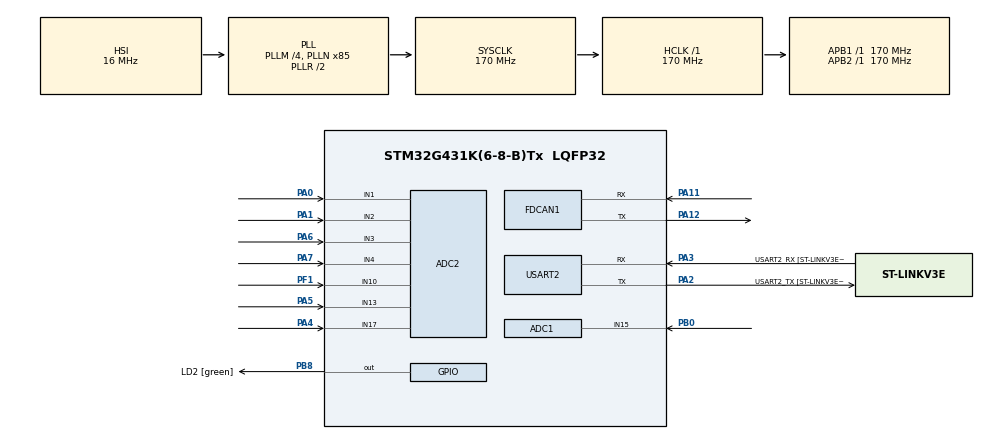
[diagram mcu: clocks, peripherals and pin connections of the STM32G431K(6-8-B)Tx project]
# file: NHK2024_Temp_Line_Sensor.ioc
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ADC1.Channel-3\#ChannelRegularConversion=ADC_CHANNEL_15
ADC1.ContinuousConvMode=ENABLE
ADC1.DMAContinuousRequests=ENABLE
ADC1.NbrOfConversionFlag=1
ADC1.OffsetNumber-3\#ChannelRegularConversion=ADC_OFFSET_NONE
ADC1.Rank-3\#ChannelRegularConversion=1
ADC1.SamplingTime-3\#ChannelRegularConversion=ADC_SAMPLETIME_640CYCLES_5
ADC1.master=1
ADC2.Channel-0\#ChannelRegularConversion=ADC_CHANNEL_1
ADC2.Channel-1\#ChannelRegularConversion=ADC_CHANNEL_2
ADC2.Channel-2\#ChannelRegularConversion=ADC_CHANNEL_4
ADC2.Channel-3\#ChannelRegularConversion=ADC_CHANNEL_3
ADC2.Channel-4\#ChannelRegularConversion=ADC_CHANNEL_10
ADC2.Channel-5\#ChannelRegularConversion=ADC_CHANNEL_13
ADC2.Channel-6\#ChannelRegularConversion=ADC_CHANNEL_17
ADC2.ContinuousConvMode=ENABLE
ADC2.DMAContinuousRequests=ENABLE
ADC2.EOCSelection=ADC_EOC_SINGLE_CONV
ADC2.NbrOfConversion=7
ADC2.NbrOfConversionFlag=1
ADC2.OffsetNumber-0\#ChannelRegularConversion=ADC_OFFSET_NONE
ADC2.OffsetNumber-1\#ChannelRegularConversion=ADC_OFFSET_NONE
ADC2.OffsetNumber-2\#ChannelRegularConversion=ADC_OFFSET_NONE
ADC2.OffsetNumber-3\#ChannelRegularConversion=ADC_OFFSET_NONE
ADC2.OffsetNumber-4\#ChannelRegularConversion=ADC_OFFSET_NONE
ADC2.OffsetNumber-5\#ChannelRegularConversion=ADC_OFFSET_NONE
ADC2.OffsetNumber-6\#ChannelRegularConversion=ADC_OFFSET_NONE
ADC2.Rank-0\#ChannelRegularConversion=1
ADC2.Rank-1\#ChannelRegularConversion=2
ADC2.Rank-2\#ChannelRegularConversion=3
ADC2.Rank-3\#ChannelRegularConversion=4
ADC2.Rank-4\#ChannelRegularConversion=5
ADC2.Rank-5\#ChannelRegularConversion=6
ADC2.Rank-6\#ChannelRegularConversion=7
ADC2.SamplingTime-0\#ChannelRegularConversion=ADC_SAMPLETIME_640CYCLES_5
ADC2.SamplingTime-1\#ChannelRegularConversion=ADC_SAMPLETIME_640CYCLES_5
ADC2.SamplingTime-2\#ChannelRegularConversion=ADC_SAMPLETIME_640CYCLES_5
ADC2.SamplingTime-3\#ChannelRegularConversion=ADC_SAMPLETIME_640CYCLES_5
ADC2.SamplingTime-4\#ChannelRegularConversion=ADC_SAMPLETIME_640CYCLES_5
ADC2.SamplingTime-5\#ChannelRegularConversion=ADC_SAMPLETIME_640CYCLES_5
ADC2.SamplingTime-6\#ChannelRegularConversion=ADC_SAMPLETIME_640CYCLES_5
Dma.ADC1.0.Direction=DMA_PERIPH_TO_MEMORY
Dma.ADC1.0.EventEnable=DISABLE
Dma.ADC1.0.Instance=DMA1_Channel1
Dma.ADC1.0.MemDataAlignment=DMA_MDATAALIGN_HALFWORD
Dma.ADC1.0.MemInc=DMA_MINC_ENABLE
Dma.ADC1.0.Mode=DMA_CIRCULAR
Dma.ADC1.0.PeriphDataAlignment=DMA_PDATAALIGN_HALFWORD
Dma.ADC1.0.PeriphInc=DMA_PINC_DISABLE
Dma.ADC1.0.Polarity=HAL_DMAMUX_REQ_GEN_RISING
Dma.ADC1.0.Priority=DMA_PRIORITY_LOW
Dma.ADC1.0.RequestNumber=1
Dma.ADC1.0.SignalID=NONE
Dma.ADC1.0.SyncEnable=DISABLE
Dma.ADC1.0.SyncPolarity=HAL_DMAMUX_SYNC_NO_EVENT
Dma.ADC1.0.SyncRequestNumber=1
Dma.ADC1.0.SyncSignalID=NONE
Dma.ADC2.1.Direction=DMA_PERIPH_TO_MEMORY
Dma.ADC2.1.EventEnable=DISABLE
Dma.ADC2.1.Instance=DMA1_Channel2
Dma.ADC2.1.MemDataAlignment=DMA_MDATAALIGN_HALFWORD
Dma.ADC2.1.MemInc=DMA_MINC_ENABLE
Dma.ADC2.1.Mode=DMA_CIRCULAR
Dma.ADC2.1.PeriphDataAlignment=DMA_PDATAALIGN_HALFWORD
Dma.ADC2.1.PeriphInc=DMA_PINC_DISABLE
Dma.ADC2.1.Polarity=HAL_DMAMUX_REQ_GEN_RISING
Dma.ADC2.1.Priority=DMA_PRIORITY_LOW
Dma.ADC2.1.RequestNumber=1
Dma.ADC2.1.SignalID=NONE
Dma.ADC2.1.SyncEnable=DISABLE
Dma.ADC2.1.SyncPolarity=HAL_DMAMUX_SYNC_NO_EVENT
Dma.ADC2.1.SyncRequestNumber=1
Dma.ADC2.1.SyncSignalID=NONE
Dma.Request0=ADC1
Dma.Request1=ADC2
FDCAN1.CalculateBaudRateNominal=2125000
FDCAN1.CalculateTimeBitNominal=470
FDCAN1.CalculateTimeQuantumNominal=94.11764705882354
Mcu.Family=STM32G4
Mcu.Name=STM32G431K(6-8-B)Tx
Mcu.Package=LQFP32
NVIC.DMA1_Channel1_IRQn=true\:0\:0\:false\:false\:true\:false\:true\:true
NVIC.DMA1_Channel2_IRQn=true\:0\:0\:false\:false\:true\:false\:true\:true
NVIC.PriorityGroup=NVIC_PRIORITYGROUP_4
NVIC.TIM6_DAC_IRQn=true\:0\:0\:false\:false\:true\:true\:true\:true
PA0.Mode=IN1-Single-Ended
PA0.Signal=ADC2_IN1
PA1.Mode=IN2-Single-Ended
PA1.Signal=ADC2_IN2
PA11.Mode=FDCAN_Activate
PA11.Signal=FDCAN1_RX
PA12.Mode=FDCAN_Activate
PA12.Signal=FDCAN1_TX
PA13.GPIO_Label=T_SWDIO
PA13.Mode=Serial_Wire
PA13.Signal=SYS_JTMS-SWDIO
PA14.GPIO_Label=T_SWCLK
PA14.Mode=Serial_Wire
PA14.Signal=SYS_JTCK-SWCLK
PA2.GPIO_Label=USART2_TX [ST-LINKV3E_VCP_RX]
PA2.Mode=Asynchronous
PA2.Signal=USART2_TX
PA3.GPIO_Label=USART2_RX [ST-LINKV3E_VCP_TX]
PA3.Mode=Asynchronous
PA3.Signal=USART2_RX
PA4.Mode=IN17-Single-Ended
PA4.Signal=ADC2_IN17
PA5.Mode=IN13-Single-Ended
PA5.Signal=ADC2_IN13
PA6.Mode=IN3-Single-Ended
PA6.Signal=ADC2_IN3
PA7.Mode=IN4-Single-Ended
PA7.Signal=ADC2_IN4
PB0.Mode=IN15-Single-Ended
PB0.Signal=ADC1_IN15
PB8-BOOT0.GPIO_Label=LD2 [green]
PB8-BOOT0.Signal=GPIO_Output
PF1-OSC_OUT.Mode=IN10-Single-Ended
PF1-OSC_OUT.Signal=ADC2_IN10
ProjectManager.HeapSize=0x200
ProjectManager.StackSize=0x400
ProjectManager.TargetToolchain=STM32CubeIDE
RCC.ADC12Freq_Value=170000000
RCC.AHBFreq_Value=170000000
RCC.APB1Freq_Value=170000000
RCC.APB1TimFreq_Value=170000000
RCC.APB2Freq_Value=170000000
RCC.APB2TimFreq_Value=170000000
RCC.CortexFreq_Value=170000000
RCC.EXTERNAL_CLOCK_VALUE=12288000
RCC.HCLKFreq_Value=170000000
RCC.HSE_VALUE=8000000
RCC.HSI48_VALUE=48000000
RCC.HSI_VALUE=16000000
RCC.LSE_VALUE=32768
RCC.PLLM=RCC_PLLM_DIV4
RCC.PLLN=85
RCC.SYSCLKFreq_VALUE=170000000
RCC.SYSCLKSource=RCC_SYSCLKSOURCE_PLLCLK
RCC.USBFreq_Value=170000000
RCC.VCOOutputFreq_Value=340000000
TIM6.PeriodNoDither=10
TIM6.Prescaler=17
USART2.VirtualMode-Asynchronous=VM_ASYNC
USART2.WordLength=WORDLENGTH_8B
VP_TIM6_VS_ClockSourceINT.Mode=Enable_Timer
board=NUCLEO-G431KB

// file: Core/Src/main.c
/* USER CODE BEGIN Header */
/**
  ******************************************************************************
  * @file           : main.c
  * @brief          : Main program body
  ******************************************************************************
  * @attention
  *
  * Copyright (c) 2024 STMicroelectronics.
  * All rights reserved.
  *
  * This software is licensed under terms that can be found in the LICENSE file
  * in the root directory of this software component.
  * If no LICENSE file comes with this software, it is provided AS-IS.
  *
  ******************************************************************************
  */
/* USER CODE END Header */
#include "main.h"

/* USER CODE BEGIN Includes */
#include <stdio.h>
#include <string.h>
#include <stdlib.h>
#include "src/clip_number.h"
#include "src/filter.h"
/* USER CODE END Includes */

/* USER CODE BEGIN PTD */
struct LineSensor {
	int max; // set max value of sensor (To do: initialize)
	int min; // set min value of sensor (To do: initialize)
};

// Do not forget initialize !!!
struct LineSensor *line_sensor_settings = NULL;

// low pass filter settings
struct NHK2024_Low_Pass_Filter_Settings *low_pass_filter_settings = NULL;

/*
 * Sensor => ADC buffer, warning not align this value, so you should use line_sensor_value
 */
uint16_t ADC1_buffer[1];
uint16_t ADC2_buffer[7];

/* USER CODE END PTD */

/* USER CODE BEGIN PD */
//#define DEBUG // comment out if you want to hide debug print
/* USER CODE END PD */

ADC_HandleTypeDef hadc1;
ADC_HandleTypeDef hadc2;
DMA_HandleTypeDef hdma_adc1;
DMA_HandleTypeDef hdma_adc2;

FDCAN_HandleTypeDef hfdcan1;

TIM_HandleTypeDef htim6;

UART_HandleTypeDef huart2;

void SystemClock_Config(void);
static void MX_GPIO_Init(void);
static void MX_DMA_Init(void);
static void MX_USART2_UART_Init(void);
static void MX_FDCAN1_Init(void);
static void MX_ADC1_Init(void);
static void MX_ADC2_Init(void);
static void MX_TIM6_Init(void);

/* USER CODE BEGIN 0 */
/* Initialize Sensor Settings (Min and Max value of sensor) */
void Sensor_Settings_Init(void) {
	line_sensor_settings = (struct LineSensor*)malloc(8 * sizeof(struct LineSensor));
	// To do: implement initialize algorithm
	for (int i = 0; i < 8; i++ ) {
		line_sensor_settings[i].max = 3000;
		line_sensor_settings[i].min = 200;
	}
}

// Initialize Low pass filter settings
void Filter_Init(void) {
	low_pass_filter_settings = (NHK2024_Low_Pass_Filter_Settings *)malloc(8 * sizeof(NHK2024_Low_Pass_Filter_Settings));
	for (int i = 0; i < 8; i++ ) {
		low_pass_filter_settings[i].control_cycle = 1e-6; // sampling time (1 / 1MHz)
		low_pass_filter_settings[i].cutoff_freq = 1e-5;   // cutoff time (10% of sampling time (from ChatGPT))
		low_pass_filter_settings[i].last_input_val = 0;
		low_pass_filter_settings[i].last_output_val = 0;
	}
}

void ADC_Init(void) {
	// ADC1 initialize and start
	HAL_ADCEx_Calibration_Start(&hadc1, ADC_SINGLE_ENDED);
	HAL_ADC_Start_DMA(&hadc1, (uint32_t *)&ADC1_buffer, 1);

	// ADC2 initialize and start
	HAL_ADCEx_Calibration_Start(&hadc2, ADC_SINGLE_ENDED);
	HAL_ADC_Start_DMA(&hadc2, (uint32_t *)&ADC2_buffer, 7);
}

/*
 * Sensor Value 0 => White Line
 * Sensor Value 1 => Black Line
 */

void update_sensor_value(void) {

	// variable definition
	// Normalize sensor value range 0 to 1
	double line_sensor_value[8];

	if (low_pass_filter_settings == NULL) {
		printf("Error: Initialize Low Pass Filter");
		Error_Handler();
	}
	if (line_sensor_settings == NULL) {
		printf("Error: Initialize Line Sensor Settings");
		Error_Handler();
	}
	/*
	* PIN assignment
	* ADC1
	* temp_sensor_value[0] -> ADC1_buffer[0] -> PB0 -> Sensor1
	*
	* ADC2
	* temp_sensor_value[1] -> ADC2_buffer[0] -> PA0  -> Sensoe2
	* temp_sensor_value[2] -> ADC2_buffer[1] -> PA1  -> Sensor3
	* temp_sensor_value[3] -> ADC2_buffer[2] -> PA7  -> Sensor4
	* temp_sensor_value[4] -> ADC2_buffer[3] -> PA6  -> Sensor5
	* temp_sensor_value[5] -> ADC2_buffer[4] -> PF10 -> Sensor6
	* temp_sensor_value[6] -> ADC2_buffer[5] -> PA5  -> Sensor7
	* temp_sensor_value[7] -> ADC2_buffer[6] -> PA4  -> Sensor8
	*/
	uint16_t temp_sensor_value[8] = {
			ADC1_buffer[0],
			ADC2_buffer[0],
			ADC2_buffer[1],
			ADC2_buffer[2],
			ADC2_buffer[3],
			ADC2_buffer[4],
			ADC2_buffer[5],
			ADC2_buffer[6],
	};

//#ifdef DEBUG
//	// original value
//	printf(
//			"%d, %d, %d, %d, %d, %d, %d, %d\r\n",
//			temp_sensor_value[0],
//			temp_sensor_value[1],
//			temp_sensor_value[2],
//			temp_sensor_value[3],
//			temp_sensor_value[4],
//			temp_sensor_value[5],
//			temp_sensor_value[6],
//			temp_sensor_value[7]
//	);
//#endif

	for (int i = 0; i < 8; i++ ) {
		// normalize 0 to 1
		line_sensor_value[i] = clip_zero_one(
				(double)temp_sensor_value[i],
				(double)line_sensor_settings[i].min, // min value
				(double)line_sensor_settings[i].max  // max value
		);

		// apply low pass filter
		line_sensor_value[i] = low_pass_filter_update(
				&low_pass_filter_settings[i],
				line_sensor_value[i]
		);
	}

#ifdef DEBUG
	printf(
			"%f,%f,%f,%f,%f,%f,%f,%f\r\n",
			line_sensor_value[0],
			line_sensor_value[1],
			line_sensor_value[2],
			line_sensor_value[3],
			line_sensor_value[4],
			line_sensor_value[5], // this value may be a little small output (1.0 (max) <=> 0.5(min))
			line_sensor_value[6],
			line_sensor_value[7]
		);
	printf("%f\n", line_sensor_value[0]);
#endif

	//Calculate lateral deviation from sensor values
	double deviation =
			(line_sensor_value[0] + 0.75 * line_sensor_value[1] + 0.5 * line_sensor_value[2] + 0.25 * line_sensor_value[3]) -
			(line_sensor_value[7] + 0.75 * line_sensor_value[6] + 0.5 * line_sensor_value[5] + 0.25 * line_sensor_value[4]);

	// Send ON CAN

}

void HAL_TIM_PeriodElapsedCallback(TIM_HandleTypeDef *htim)
{
    if (htim == &htim6){
    	update_sensor_value();
    }
}

int _write(int file, char *ptr, int len)
{
	HAL_UART_Transmit(&huart2, (uint8_t *)ptr, len, 10);
	return len;
}
/* USER CODE END 0 */

int main(void)
{
  /* USER CODE BEGIN 1 */
  setbuf(stdout, NULL);
  /* USER CODE END 1 */

  /* MCU Configuration--------------------------------------------------------*/

  /* Reset of all peripherals, Initializes the Flash interface and the Systick. */
  HAL_Init();

  /* Configure the system clock */
  SystemClock_Config();

  /* Initialize all configured peripherals */
  MX_GPIO_Init();
  MX_DMA_Init();
  MX_USART2_UART_Init();
  MX_FDCAN1_Init();
  MX_ADC1_Init();
  MX_ADC2_Init();
  MX_TIM6_Init();

  /* Infinite loop */
  /* USER CODE BEGIN WHILE */
  ADC_Init();
  Sensor_Settings_Init();
  Filter_Init();
  HAL_TIM_Base_Start_IT(&htim6); // Start Timer
  while (1)
  {
    /* USER CODE END WHILE */

  }
}

void SystemClock_Config(void)
{
  RCC_OscInitTypeDef RCC_OscInitStruct = {0};
  RCC_ClkInitTypeDef RCC_ClkInitStruct = {0};

  /** Configure the main internal regulator output voltage
  */
  HAL_PWREx_ControlVoltageScaling(PWR_REGULATOR_VOLTAGE_SCALE1_BOOST);

  /** Initializes the RCC Oscillators according to the specified parameters
  * in the RCC_OscInitTypeDef structure.
  */
  RCC_OscInitStruct.OscillatorType = RCC_OSCILLATORTYPE_HSI;
  RCC_OscInitStruct.HSIState = RCC_HSI_ON;
  RCC_OscInitStruct.HSICalibrationValue = RCC_HSICALIBRATION_DEFAULT;
  RCC_OscInitStruct.PLL.PLLState = RCC_PLL_ON;
  RCC_OscInitStruct.PLL.PLLSource = RCC_PLLSOURCE_HSI;
  RCC_OscInitStruct.PLL.PLLM = RCC_PLLM_DIV4;
  RCC_OscInitStruct.PLL.PLLN = 85;
  RCC_OscInitStruct.PLL.PLLP = RCC_PLLP_DIV2;
  RCC_OscInitStruct.PLL.PLLQ = RCC_PLLQ_DIV2;
  RCC_OscInitStruct.PLL.PLLR = RCC_PLLR_DIV2;
  if (HAL_RCC_OscConfig(&RCC_OscInitStruct) != HAL_OK)
  {
    Error_Handler();
  }

  /** Initializes the CPU, AHB and APB buses clocks
  */
  RCC_ClkInitStruct.ClockType = RCC_CLOCKTYPE_HCLK|RCC_CLOCKTYPE_SYSCLK
                              |RCC_CLOCKTYPE_PCLK1|RCC_CLOCKTYPE_PCLK2;
  RCC_ClkInitStruct.SYSCLKSource = RCC_SYSCLKSOURCE_PLLCLK;
  RCC_ClkInitStruct.AHBCLKDivider = RCC_SYSCLK_DIV1;
  RCC_ClkInitStruct.APB1CLKDivider = RCC_HCLK_DIV1;
  RCC_ClkInitStruct.APB2CLKDivider = RCC_HCLK_DIV1;

  if (HAL_RCC_ClockConfig(&RCC_ClkInitStruct, FLASH_LATENCY_4) != HAL_OK)
  {
    Error_Handler();
  }
}

static void MX_ADC1_Init(void)
{

  ADC_MultiModeTypeDef multimode = {0};
  ADC_ChannelConfTypeDef sConfig = {0};

  /** Common config
  */
  hadc1.Instance = ADC1;
  hadc1.Init.ClockPrescaler = ADC_CLOCK_SYNC_PCLK_DIV4;
  hadc1.Init.Resolution = ADC_RESOLUTION_12B;
  hadc1.Init.DataAlign = ADC_DATAALIGN_RIGHT;
  hadc1.Init.GainCompensation = 0;
  hadc1.Init.ScanConvMode = ADC_SCAN_DISABLE;
  hadc1.Init.EOCSelection = ADC_EOC_SINGLE_CONV;
  hadc1.Init.LowPowerAutoWait = DISABLE;
  hadc1.Init.ContinuousConvMode = ENABLE;
  hadc1.Init.NbrOfConversion = 1;
  hadc1.Init.DiscontinuousConvMode = DISABLE;
  hadc1.Init.ExternalTrigConv = ADC_SOFTWARE_START;
  hadc1.Init.ExternalTrigConvEdge = ADC_EXTERNALTRIGCONVEDGE_NONE;
  hadc1.Init.DMAContinuousRequests = ENABLE;
  hadc1.Init.Overrun = ADC_OVR_DATA_PRESERVED;
  hadc1.Init.OversamplingMode = DISABLE;
  if (HAL_ADC_Init(&hadc1) != HAL_OK)
  {
    Error_Handler();
  }

  /** Configure the ADC multi-mode
  */
  multimode.Mode = ADC_MODE_INDEPENDENT;
  if (HAL_ADCEx_MultiModeConfigChannel(&hadc1, &multimode) != HAL_OK)
  {
    Error_Handler();
  }

  /** Configure Regular Channel
  */
  sConfig.Channel = ADC_CHANNEL_15;
  sConfig.Rank = ADC_REGULAR_RANK_1;
  sConfig.SamplingTime = ADC_SAMPLETIME_640CYCLES_5;
  sConfig.SingleDiff = ADC_SINGLE_ENDED;
  sConfig.OffsetNumber = ADC_OFFSET_NONE;
  sConfig.Offset = 0;
  if (HAL_ADC_ConfigChannel(&hadc1, &sConfig) != HAL_OK)
  {
    Error_Handler();
  }

}

static void MX_ADC2_Init(void)
{

  ADC_ChannelConfTypeDef sConfig = {0};

  /** Common config
  */
  hadc2.Instance = ADC2;
  hadc2.Init.ClockPrescaler = ADC_CLOCK_SYNC_PCLK_DIV4;
  hadc2.Init.Resolution = ADC_RESOLUTION_12B;
  hadc2.Init.DataAlign = ADC_DATAALIGN_RIGHT;
  hadc2.Init.GainCompensation = 0;
  hadc2.Init.ScanConvMode = ADC_SCAN_ENABLE;
  hadc2.Init.EOCSelection = ADC_EOC_SINGLE_CONV;
  hadc2.Init.LowPowerAutoWait = DISABLE;
  hadc2.Init.ContinuousConvMode = ENABLE;
  hadc2.Init.NbrOfConversion = 7;
  hadc2.Init.DiscontinuousConvMode = DISABLE;
  hadc2.Init.ExternalTrigConv = ADC_SOFTWARE_START;
  hadc2.Init.ExternalTrigConvEdge = ADC_EXTERNALTRIGCONVEDGE_NONE;
  hadc2.Init.DMAContinuousRequests = ENABLE;
  hadc2.Init.Overrun = ADC_OVR_DATA_PRESERVED;
  hadc2.Init.OversamplingMode = DISABLE;
  if (HAL_ADC_Init(&hadc2) != HAL_OK)
  {
    Error_Handler();
  }

  /** Configure Regular Channel
  */
  sConfig.Channel = ADC_CHANNEL_1;
  sConfig.Rank = ADC_REGULAR_RANK_1;
  sConfig.SamplingTime = ADC_SAMPLETIME_640CYCLES_5;
  sConfig.SingleDiff = ADC_SINGLE_ENDED;
  sConfig.OffsetNumber = ADC_OFFSET_NONE;
  sConfig.Offset = 0;
  if (HAL_ADC_ConfigChannel(&hadc2, &sConfig) != HAL_OK)
  {
    Error_Handler();
  }

  /** Configure Regular Channel
  */
  sConfig.Channel = ADC_CHANNEL_2;
  sConfig.Rank = ADC_REGULAR_RANK_2;
  if (HAL_ADC_ConfigChannel(&hadc2, &sConfig) != HAL_OK)
  {
    Error_Handler();
  }

  /** Configure Regular Channel
  */
  sConfig.Channel = ADC_CHANNEL_4;
  sConfig.Rank = ADC_REGULAR_RANK_3;
  if (HAL_ADC_ConfigChannel(&hadc2, &sConfig) != HAL_OK)
  {
    Error_Handler();
  }

  /** Configure Regular Channel
  */
  sConfig.Channel = ADC_CHANNEL_3;
  sConfig.Rank = ADC_REGULAR_RANK_4;
  if (HAL_ADC_ConfigChannel(&hadc2, &sConfig) != HAL_OK)
  {
    Error_Handler();
  }

  /** Configure Regular Channel
  */
  sConfig.Channel = ADC_CHANNEL_10;
  sConfig.Rank = ADC_REGULAR_RANK_5;
  if (HAL_ADC_ConfigChannel(&hadc2, &sConfig) != HAL_OK)
  {
    Error_Handler();
  }

  /** Configure Regular Channel
  */
  sConfig.Channel = ADC_CHANNEL_13;
  sConfig.Rank = ADC_REGULAR_RANK_6;
  if (HAL_ADC_ConfigChannel(&hadc2, &sConfig) != HAL_OK)
  {
    Error_Handler();
  }

  /** Configure Regular Channel
  */
  sConfig.Channel = ADC_CHANNEL_17;
  sConfig.Rank = ADC_REGULAR_RANK_7;
  if (HAL_ADC_ConfigChannel(&hadc2, &sConfig) != HAL_OK)
  {
    Error_Handler();
  }

}

static void MX_FDCAN1_Init(void)
{

  hfdcan1.Instance = FDCAN1;
  hfdcan1.Init.ClockDivider = FDCAN_CLOCK_DIV1;
  hfdcan1.Init.FrameFormat = FDCAN_FRAME_CLASSIC;
  hfdcan1.Init.Mode = FDCAN_MODE_NORMAL;
  hfdcan1.Init.AutoRetransmission = DISABLE;
  hfdcan1.Init.TransmitPause = DISABLE;
  hfdcan1.Init.ProtocolException = DISABLE;
  hfdcan1.Init.NominalPrescaler = 16;
  hfdcan1.Init.NominalSyncJumpWidth = 1;
  hfdcan1.Init.NominalTimeSeg1 = 2;
  hfdcan1.Init.NominalTimeSeg2 = 2;
  hfdcan1.Init.DataPrescaler = 1;
  hfdcan1.Init.DataSyncJumpWidth = 1;
  hfdcan1.Init.DataTimeSeg1 = 1;
  hfdcan1.Init.DataTimeSeg2 = 1;
  hfdcan1.Init.StdFiltersNbr = 0;
  hfdcan1.Init.ExtFiltersNbr = 0;
  hfdcan1.Init.TxFifoQueueMode = FDCAN_TX_FIFO_OPERATION;
  if (HAL_FDCAN_Init(&hfdcan1) != HAL_OK)
  {
    Error_Handler();
  }

}

static void MX_TIM6_Init(void)
{

  TIM_MasterConfigTypeDef sMasterConfig = {0};

  htim6.Instance = TIM6;
  htim6.Init.Prescaler = 17;
  htim6.Init.CounterMode = TIM_COUNTERMODE_UP;
  htim6.Init.Period = 10;
  htim6.Init.AutoReloadPreload = TIM_AUTORELOAD_PRELOAD_DISABLE;
  if (HAL_TIM_Base_Init(&htim6) != HAL_OK)
  {
    Error_Handler();
  }
  sMasterConfig.MasterOutputTrigger = TIM_TRGO_RESET;
  sMasterConfig.MasterSlaveMode = TIM_MASTERSLAVEMODE_DISABLE;
  if (HAL_TIMEx_MasterConfigSynchronization(&htim6, &sMasterConfig) != HAL_OK)
  {
    Error_Handler();
  }

}

static void MX_USART2_UART_Init(void)
{

  huart2.Instance = USART2;
  huart2.Init.BaudRate = 115200;
  huart2.Init.WordLength = UART_WORDLENGTH_8B;
  huart2.Init.StopBits = UART_STOPBITS_1;
  huart2.Init.Parity = UART_PARITY_NONE;
  huart2.Init.Mode = UART_MODE_TX_RX;
  huart2.Init.HwFlowCtl = UART_HWCONTROL_NONE;
  huart2.Init.OverSampling = UART_OVERSAMPLING_16;
  huart2.Init.OneBitSampling = UART_ONE_BIT_SAMPLE_DISABLE;
  huart2.Init.ClockPrescaler = UART_PRESCALER_DIV1;
  huart2.AdvancedInit.AdvFeatureInit = UART_ADVFEATURE_NO_INIT;
  if (HAL_UART_Init(&huart2) != HAL_OK)
  {
    Error_Handler();
  }
  if (HAL_UARTEx_SetTxFifoThreshold(&huart2, UART_TXFIFO_THRESHOLD_1_8) != HAL_OK)
  {
    Error_Handler();
  }
  if (HAL_UARTEx_SetRxFifoThreshold(&huart2, UART_RXFIFO_THRESHOLD_1_8) != HAL_OK)
  {
    Error_Handler();
  }
  if (HAL_UARTEx_DisableFifoMode(&huart2) != HAL_OK)
  {
    Error_Handler();
  }

}

static void MX_DMA_Init(void)
{

  /* DMA controller clock enable */
  __HAL_RCC_DMAMUX1_CLK_ENABLE();
  __HAL_RCC_DMA1_CLK_ENABLE();

  /* DMA interrupt init */
  /* DMA1_Channel1_IRQn interrupt configuration */
  HAL_NVIC_SetPriority(DMA1_Channel1_IRQn, 0, 0);
  HAL_NVIC_EnableIRQ(DMA1_Channel1_IRQn);
  /* DMA1_Channel2_IRQn interrupt configuration */
  HAL_NVIC_SetPriority(DMA1_Channel2_IRQn, 0, 0);
  HAL_NVIC_EnableIRQ(DMA1_Channel2_IRQn);

}

static void MX_GPIO_Init(void)
{
  GPIO_InitTypeDef GPIO_InitStruct = {0};

  /* GPIO Ports Clock Enable */
  __HAL_RCC_GPIOF_CLK_ENABLE();
  __HAL_RCC_GPIOA_CLK_ENABLE();
  __HAL_RCC_GPIOB_CLK_ENABLE();

  /*Configure GPIO pin Output Level */
  HAL_GPIO_WritePin(LD2_GPIO_Port, LD2_Pin, GPIO_PIN_RESET);

  /*Configure GPIO pin : LD2_Pin */
  GPIO_InitStruct.Pin = LD2_Pin;
  GPIO_InitStruct.Mode = GPIO_MODE_OUTPUT_PP;
  GPIO_InitStruct.Pull = GPIO_NOPULL;
  GPIO_InitStruct.Speed = GPIO_SPEED_FREQ_LOW;
  HAL_GPIO_Init(LD2_GPIO_Port, &GPIO_InitStruct);

}

void Error_Handler(void)
{
  __disable_irq();
  while (1)
  {
  }
}
